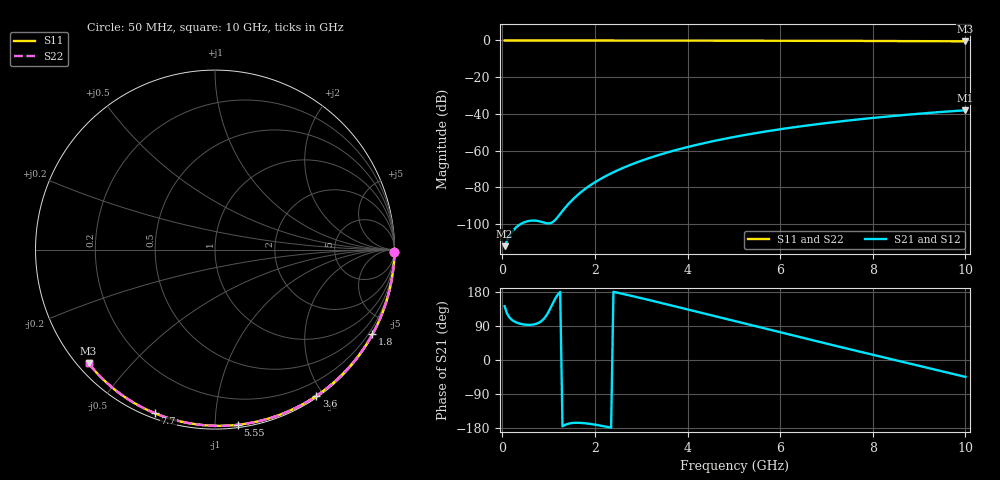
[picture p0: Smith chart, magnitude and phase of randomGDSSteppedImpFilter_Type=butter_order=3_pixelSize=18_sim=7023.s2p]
! freq	dB(S11)	phase(S11)	dB(S12)	phase(S12)
!  dB(S21)	phase(S21)	dB(S22)	phase(S22)
!S-par simulation data
#  GHz  S  DB  R 50
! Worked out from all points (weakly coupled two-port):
!   200 points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, 50 MHz to 10 GHz, reference 50 ohm
!   highest |S21| = -38.00 dB at 10 GHz (marker M1); lowest = -112.0 dB at 50 MHz (marker M2)
!   lowest |S11| = -0.5 dB at 10 GHz (marker M3), VSWR 36.87, Z = 1.56 - j19.2 ohm
!   |S11| at or under -10 dB: nowhere
!   |S22| runs from -0.5 to 0.0 dB; largest |S21 - S12| = 0
!   S11 on the Smith chart (normalised r, x): 50 MHz: open; 1.8 GHz: 0.03, -3.97; 3.6 GHz: 0.02, -1.91; 5.55 GHz: 0.02, -1.14; 7.7 GHz: 0.02, -0.70; 10 GHz: 0.03, -0.38
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0.05  -0.00 -0.8  -111.96 141.8  -111.96 141.8  -0.00 -0.8
0.45  -0.01 -7.2  -99.22 94.1  -99.22 94.1  -0.01 -7.2
0.9  -0.02 -14.3  -99.12 109.1  -99.12 109.1  -0.02 -14.3
1.75  -0.04 -27.5  -81.53 -166.5  -81.53 -166.5  -0.04 -27.5
1.8  -0.04 -28.3  -80.58 -167.1  -80.58 -167.1  -0.04 -28.3
1.85  -0.04 -29.1  -79.68 -167.8  -79.68 -167.8  -0.04 -29.1
2.05  -0.04 -32.1  -76.42 -171.6  -76.42 -171.6  -0.04 -32.1
2.25  -0.05 -35.2  -73.60 -176.2  -73.60 -176.2  -0.05 -35.2
2.55  -0.05 -39.7  -69.98 175.9  -69.98 175.9  -0.05 -39.7
2.95  -0.06 -45.7  -65.95 164.7  -65.95 164.7  -0.06 -45.7
3.4  -0.07 -52.4  -62.17 151.5  -62.17 151.5  -0.07 -52.4
3.6  -0.07 -55.3  -60.69 145.5  -60.69 145.5  -0.07 -55.3
3.9  -0.08 -59.6  -58.65 136.5  -58.65 136.5  -0.08 -59.6
4.3  -0.09 -65.3  -56.21 124.4  -56.21 124.4  -0.09 -65.3
5.05  -0.12 -75.7  -52.31 101.7  -52.31 101.7  -0.12 -75.7
5.55  -0.14 -82.5  -50.10 86.5  -50.10 86.5  -0.14 -82.5
6.1  -0.16 -89.8  -47.95 70.0  -47.95 70.0  -0.16 -89.8
6.7  -0.19 -97.5  -45.88 52.1  -45.88 52.1  -0.19 -97.5
7.7  -0.25 -110.1  -42.95 22.6  -42.95 22.6  -0.25 -110.1
8.35  -0.30 -118.1  -41.32 3.6  -41.32 3.6  -0.30 -118.1
9.2  -0.38 -128.4  -39.46 -21.1  -39.46 -21.1  -0.38 -128.4
10  -0.47 -138.0  -38.00 -44.6  -38.00 -44.6  -0.47 -138.0
